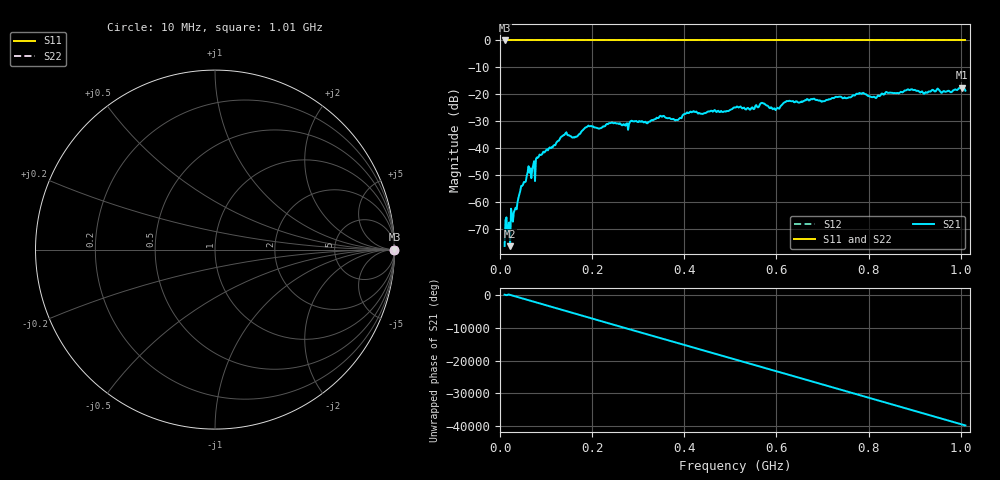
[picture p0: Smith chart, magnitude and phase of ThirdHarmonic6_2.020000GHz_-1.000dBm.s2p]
! 8/17/2025 12:15:05 AM
! C:\ANRITSUVNA\TEMP\TEMP.S2P
! CHANNEL.1
! TR.MEASUREMENT
! RAW.DATA
! RF.CORRECTION.OFF
! AVERAGING.OFF
! IF.BANDWIDTH: 5KHZ
! SWEEPTYPE:  FREQ.SWEEP(Linear)
! Reference Plane Port Info
! PORT:  PORT1  PORT2
! DISTANCE:  0  m  0  m
! TIME:  0  s  0  s
! PHASE.OFFSET:  0  deg.  0  deg.
! LOSS:  0  dB  0  dB
! REF.LOSS:  0  dB  0  dB
! REF.FREQ:  0  Hz  0  Hz
! Power Info
! POWER:  -20  dBm  -20  dBm
! EFF.POWER:  -20  dBm  -20  dBm
! SOURCE.ATTEN:  0  dB  0  dB
! TEST.ATTEN:  0  dB  0  dB
# GHZ S RI R 50.0
! FREQ.GHZ  S11RE  S11IM  S21RE  S21IM  S12RE  S12IM  S22RE  S22IM
!; PortSelection: Port_12
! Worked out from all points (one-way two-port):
!   501 points, 10 MHz to 1.01 GHz, reference 50 ohm
!   highest |S21| = -17.52 dB at 1.002 GHz (marker M1); lowest = -76.3 dB at 22 MHz (marker M2)
!   lowest |S11| = 0.0 dB at 10 MHz (marker M3)
!   |S11| at or under -10 dB: nowhere
!   |S22| runs from 0.0 to 0.0 dB; largest |S21 - S12| = 1.1
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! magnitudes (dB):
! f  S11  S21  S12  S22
! 10 MHz  0.0  -76.3  0.0  0.0
! 16 MHz  0.0  -71.1  0.0  0.0
! 18 MHz  0.0  -70.0  0.0  0.0
! 22 MHz  0.0  -76.3  0.0  0.0
! 48 MHz  0.0  -53.9  0.0  0.0
! 62 MHz  0.0  -46.7  0.0  0.0
! 72 MHz  0.0  -46.4  0.0  0.0
! 82 MHz  0.0  -43.5  0.0  0.0
! 140 MHz  0.0  -35.0  0.0  0.0
! 162 MHz  0.0  -36.0  0.0  0.0
! 178 MHz  0.0  -33.5  0.0  0.0
! 344 MHz  0.0  -28.8  0.0  0.0
! 384 MHz  0.0  -29.5  0.0  0.0
! 416 MHz  0.0  -26.7  0.0  0.0
! 510 MHz  0.0  -24.8  0.0  0.0
! 570 MHz  0.0  -23.2  0.0  0.0
! 596 MHz  0.0  -25.2  0.0  0.0
! 624 MHz  0.0  -22.5  0.0  0.0
! 678 MHz  0.0  -21.9  0.0  0.0
! 844 MHz  0.0  -19.4  0.0  0.0
! 1.002 GHz  0.0  -17.5  0.0  0.0
! 1.01 GHz  0.0  -18.6  0.0  0.0
